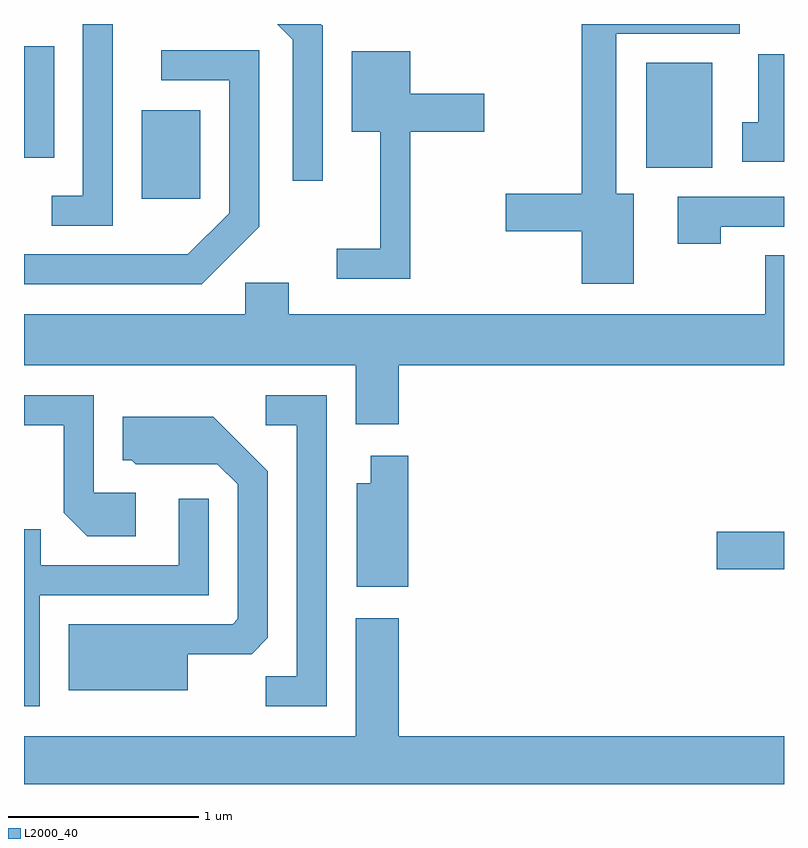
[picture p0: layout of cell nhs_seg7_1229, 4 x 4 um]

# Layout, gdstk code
import gdstk
lib = gdstk.Library(unit=1e-6, precision=1e-09)
def R(c, l, rs):  # rectangles x0, y0, x1, y1
    for r in rs: c.add(gdstk.rectangle(r[:2], r[2:], *l))
def P(c, l, *ps):  # polygons
    for p in ps: c.add(gdstk.Polygon(p, *l))
L2000_40 = (2000, 40)

nhs_seg7_1229 = lib.new_cell('nhs_seg7_1229')
R(nhs_seg7_1229, L2000_40, [(225.256,1795.381,225.611,1795.579), (222.231,1797.331,222.539,1797.799), (224.886,1797.496,225.234,1798.049), (221.611,1797.548,221.769,1798.134)])
P(nhs_seg7_1229, L2000_40, [(224.819,1797.359),(224.729,1797.359),(224.729,1798.201),(225.378,1798.201),(225.378,1798.252),(224.546,1798.252),(224.546,1797.359),(224.146,1797.359),(224.146,1797.161),(224.546,1797.161),(224.546,1796.886),(224.819,1796.886)],
  [(222.079,1798.252),(221.921,1798.252),(221.921,1797.349),(221.758,1797.349),(221.758,1797.191),(222.079,1797.191)],
  [(223.184,1798.242),(223.174,1798.252),(222.943,1798.252),(223.026,1798.169),(223.026,1797.428),(223.184,1797.428)],
  [(222.849,1797.184),(222.849,1798.114),(222.333,1798.114),(222.333,1797.956),(222.691,1797.956),(222.691,1797.257),(222.474,1797.039),(221.611,1797.039),(221.611,1796.881),(222.547,1796.881)],
  [(223.644,1797.686),(224.034,1797.686),(224.034,1797.884),(223.644,1797.884),(223.644,1798.109),(223.336,1798.109),(223.336,1797.686),(223.486,1797.686),(223.486,1797.069),(223.258,1797.069),(223.258,1796.911),(223.644,1796.911)],
  [(225.611,1798.094),(225.476,1798.094),(225.476,1797.734),(225.391,1797.734),(225.391,1797.526),(225.611,1797.526)],
  [(225.279,1797.186),(225.611,1797.186),(225.611,1797.344),(225.051,1797.344),(225.051,1797.096),(225.279,1797.096)],
  [(223.584,1796.456),(225.611,1796.456),(225.611,1797.034),(225.511,1797.034),(225.511,1796.724),(223.004,1796.724),(223.004,1796.889),(222.776,1796.889),(222.776,1796.724),(221.611,1796.724),(221.611,1796.456),(223.356,1796.456),(223.356,1796.146),(223.584,1796.146)],
  [(222.199,1795.784),(221.979,1795.784),(221.979,1796.299),(221.611,1796.299),(221.611,1796.141),(221.821,1796.141),(221.821,1795.679),(221.944,1795.556),(222.199,1795.556)],
  [(223.204,1796.299),(222.883,1796.299),(222.883,1796.141),(223.046,1796.141),(223.046,1794.819),(222.883,1794.819),(222.883,1794.661),(223.204,1794.661)],
  [(222.474,1794.936),(222.809,1794.936),(222.894,1795.022),(222.894,1795.897),(222.607,1796.184),(222.131,1796.184),(222.131,1795.956),(222.179,1795.956),(222.199,1795.936),(222.629,1795.936),(222.736,1795.829),(222.736,1795.122),(222.709,1795.094),(221.846,1795.094),(221.846,1794.746),(222.474,1794.746)],
  [(223.634,1795.979),(223.436,1795.979),(223.436,1795.834),(223.361,1795.834),(223.361,1795.291),(223.634,1795.291)],
  [(221.694,1795.246),(222.584,1795.246),(222.584,1795.753),(222.426,1795.753),(222.426,1795.404),(221.699,1795.404),(221.699,1795.593),(221.611,1795.593),(221.611,1794.661),(221.694,1794.661)],
  [(225.611,1794.504),(223.584,1794.504),(223.584,1795.124),(223.356,1795.124),(223.356,1794.504),(221.611,1794.504),(221.611,1794.252),(225.611,1794.252)])

lib.write_gds('nhs_seg7_1229.gds')
